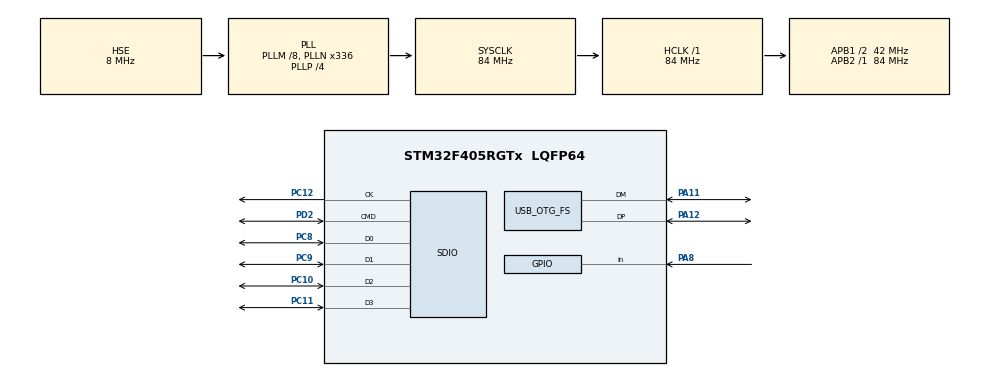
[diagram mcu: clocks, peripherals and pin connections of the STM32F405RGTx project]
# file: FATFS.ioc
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Dma.Request0=SDIO_RX
Dma.Request1=SDIO_TX
Dma.SDIO_RX.0.Direction=DMA_PERIPH_TO_MEMORY
Dma.SDIO_RX.0.FIFOMode=DMA_FIFOMODE_ENABLE
Dma.SDIO_RX.0.FIFOThreshold=DMA_FIFO_THRESHOLD_FULL
Dma.SDIO_RX.0.Instance=DMA2_Stream3
Dma.SDIO_RX.0.MemBurst=DMA_MBURST_INC4
Dma.SDIO_RX.0.MemDataAlignment=DMA_MDATAALIGN_WORD
Dma.SDIO_RX.0.MemInc=DMA_MINC_ENABLE
Dma.SDIO_RX.0.Mode=DMA_PFCTRL
Dma.SDIO_RX.0.PeriphBurst=DMA_PBURST_INC4
Dma.SDIO_RX.0.PeriphDataAlignment=DMA_PDATAALIGN_WORD
Dma.SDIO_RX.0.PeriphInc=DMA_PINC_DISABLE
Dma.SDIO_RX.0.Priority=DMA_PRIORITY_LOW
Dma.SDIO_TX.1.Direction=DMA_MEMORY_TO_PERIPH
Dma.SDIO_TX.1.FIFOMode=DMA_FIFOMODE_ENABLE
Dma.SDIO_TX.1.FIFOThreshold=DMA_FIFO_THRESHOLD_FULL
Dma.SDIO_TX.1.Instance=DMA2_Stream6
Dma.SDIO_TX.1.MemBurst=DMA_MBURST_INC4
Dma.SDIO_TX.1.MemDataAlignment=DMA_MDATAALIGN_WORD
Dma.SDIO_TX.1.MemInc=DMA_MINC_ENABLE
Dma.SDIO_TX.1.Mode=DMA_PFCTRL
Dma.SDIO_TX.1.PeriphBurst=DMA_PBURST_INC4
Dma.SDIO_TX.1.PeriphDataAlignment=DMA_PDATAALIGN_WORD
Dma.SDIO_TX.1.PeriphInc=DMA_PINC_DISABLE
Dma.SDIO_TX.1.Priority=DMA_PRIORITY_LOW
FATFS.BSP.number=1
FATFS.USE_DMA_CODE_SD=1
FATFS._MAX_SS=4096
FATFS0.BSP.STBoard=false
FATFS0.BSP.api=Unknown
FATFS0.BSP.instance=PA8
FATFS0.BSP.ip=GPIO
FATFS0.BSP.mode=Input
FATFS0.BSP.name=Detect_SDIO
FATFS0.BSP.solution=PA8
Mcu.Family=STM32F4
Mcu.Name=STM32F405RGTx
Mcu.Package=LQFP64
NVIC.DMA2_Stream3_IRQn=true\:0\:0\:false\:false\:true\:false\:true\:true
NVIC.DMA2_Stream6_IRQn=true\:0\:0\:false\:false\:true\:false\:true\:true
NVIC.OTG_FS_IRQn=true\:0\:0\:false\:false\:true\:false\:true\:true
NVIC.PriorityGroup=NVIC_PRIORITYGROUP_4
NVIC.SDIO_IRQn=true\:0\:0\:false\:false\:true\:true\:true\:true
PA11.Mode=Device_Only
PA11.Signal=USB_OTG_FS_DM
PA12.Mode=Device_Only
PA12.Signal=USB_OTG_FS_DP
PA8.GPIO_PuPd=GPIO_PULLDOWN
PA8.Signal=GPIO_Input
PC10.GPIO_PuPd=GPIO_PULLUP
PC10.Mode=SD_4_bits_Wide_bus
PC10.Signal=SDIO_D2
PC11.GPIO_PuPd=GPIO_PULLUP
PC11.Mode=SD_4_bits_Wide_bus
PC11.Signal=SDIO_D3
PC12.GPIO_PuPd=GPIO_NOPULL
PC12.Mode=SD_4_bits_Wide_bus
PC12.Signal=SDIO_CK
PC8.GPIO_PuPd=GPIO_PULLUP
PC8.Mode=SD_4_bits_Wide_bus
PC8.Signal=SDIO_D0
PC9.GPIO_PuPd=GPIO_PULLUP
PC9.Mode=SD_4_bits_Wide_bus
PC9.Signal=SDIO_D1
PD2.GPIO_PuPd=GPIO_PULLUP
PD2.Mode=SD_4_bits_Wide_bus
PD2.Signal=SDIO_CMD
PH0-OSC_IN.Mode=HSE-External-Oscillator
PH0-OSC_IN.Signal=RCC_OSC_IN
PH1-OSC_OUT.Mode=HSE-External-Oscillator
PH1-OSC_OUT.Signal=RCC_OSC_OUT
ProjectManager.HeapSize=0x2000
ProjectManager.StackSize=0x2000
ProjectManager.TargetToolchain=STM32CubeIDE
RCC.48MHZClocksFreq_Value=48000000
RCC.AHBFreq_Value=84000000
RCC.APB1CLKDivider=RCC_HCLK_DIV2
RCC.APB1Freq_Value=42000000
RCC.APB1TimFreq_Value=84000000
RCC.APB2Freq_Value=84000000
RCC.APB2TimFreq_Value=84000000
RCC.CortexFreq_Value=84000000
RCC.HCLKFreq_Value=84000000
RCC.HSE_VALUE=8000000
RCC.HSI_VALUE=16000000
RCC.LSE_VALUE=32768
RCC.PLLM=8
RCC.PLLN=336
RCC.PLLP=RCC_PLLP_DIV4
RCC.PLLQ=7
RCC.SYSCLKFreq_VALUE=84000000
RCC.SYSCLKSource=RCC_SYSCLKSOURCE_PLLCLK
RCC.VCOOutputFreq_Value=336000000
SDIO.ClockDiv=4
SDIO.HardwareFlowControl=SDIO_HARDWARE_FLOW_CONTROL_DISABLE
USB_DEVICE.CLASS_NAME_FS=MSC
USB_DEVICE.VirtualMode-MSC_FS=Msc
USB_DEVICE.VirtualModeFS=Msc_FS
USB_OTG_FS.VirtualMode=Device_Only
VP_FATFS_VS_SDIO.Mode=SDIO
VP_USB_DEVICE_VS_USB_DEVICE_MSC_FS.Mode=MSC_FS
board=custom

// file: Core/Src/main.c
/* USER CODE BEGIN Header */
/**
  ******************************************************************************
  * @file           : main.c
  * @brief          : Main program body
  ******************************************************************************
  * @attention
  *
  * Copyright (c) 2024 STMicroelectronics.
  * All rights reserved.
  *
  * This software is licensed under terms that can be found in the LICENSE file
  * in the root directory of this software component.
  * If no LICENSE file comes with this software, it is provided AS-IS.
  *
  ******************************************************************************
  */
/* USER CODE END Header */
#include "main.h"
#include "fatfs.h"
#include "usb_device.h"

SD_HandleTypeDef hsd;
DMA_HandleTypeDef hdma_sdio_rx;
DMA_HandleTypeDef hdma_sdio_tx;

void SystemClock_Config(void);
static void MX_GPIO_Init(void);
static void MX_DMA_Init(void);
static void MX_SDIO_SD_Init(void);

/* USER CODE BEGIN 0 */
extern char SDPath[4];
/* USER CODE END 0 */

int main(void)
{

  /* USER CODE BEGIN 1 */
	FRESULT res; /* FatFs function common result code */
	uint32_t byteswritten, bytesread; /* File write/read counts */
	uint8_t wtext[] = "This is STM32 working with FatFs"; /* File write buffer */
	uint8_t rtext[100]; /* File read buffer */
  /* USER CODE END 1 */

  /* MCU Configuration--------------------------------------------------------*/

  /* Reset of all peripherals, Initializes the Flash interface and the Systick. */
  HAL_Init();

  /* Configure the system clock */
  SystemClock_Config();

  /* Initialize all configured peripherals */
  MX_GPIO_Init();
  MX_DMA_Init();
  MX_SDIO_SD_Init();
  MX_FATFS_Init();
//  MX_USB_DEVICE_Init();//DON'T WORKING
  /* USER CODE BEGIN 2 */
  HAL_Delay(1000);
  /*##-2- Register the file system object to the FatFs module ##############*/
  if(f_mount(&SDFatFS, (TCHAR const*)SDPath, 0) != FR_OK){
  /* FatFs Initialization Error */
	  Error_Handler();
  }
  else{
  /*##-4- Create and Open a new text file object with write access #####*/
	  if(f_open(&SDFile, "STM32.TXT", FA_CREATE_ALWAYS | FA_WRITE) != FR_OK){
  /* 'STM32.TXT' file Open for write Error */
		  Error_Handler();
	  }
	  else{
  /*##-5- Write data to the text file ################################*/
		  res = f_write(&SDFile, wtext, sizeof(wtext), (void *)&byteswritten);
		  if((byteswritten == 0) || (res != FR_OK)){
  /* 'STM32.TXT' file Write or EOF Error */
			  Error_Handler();
		  }
		  else
		  {
  /*##-6- Close the open text file #################################*/
			  f_close(&SDFile);
  /*##-7- Open the text file object with read access ###############*/
			  if(f_open(&SDFile, "STM32.TXT", FA_READ) != FR_OK){
  /* 'STM32.TXT' file Open for read Error */
				  Error_Handler();
			  }
			  else {
  /*##-8- Read data from the text file ###########################*/
				  res = f_read(&SDFile, rtext, sizeof(rtext), (UINT*)&bytesread);
				  if((bytesread == 0) || (res != FR_OK)){
  /* 'STM32.TXT' file Read or EOF Error */
					  Error_Handler();
				  }
				  else{
  /*##-9- Close the open text file #############################*/
					  f_close(&SDFile);
  /*##-10- Compare read data with the expected data ############*/
					  if((bytesread != byteswritten)) {
  /* Read data is different from the expected data */
						  Error_Handler();
					  }
					  else { }
				  }
			  }
		  }
	  }
  }
  MX_USB_DEVICE_Init();//IT WORKS
  /* USER CODE END 2 */

  /* Infinite loop */
  while (1)
  {

  }
}

void SystemClock_Config(void)
{
  RCC_OscInitTypeDef RCC_OscInitStruct = {0};
  RCC_ClkInitTypeDef RCC_ClkInitStruct = {0};

  /** Configure the main internal regulator output voltage
  */
  __HAL_RCC_PWR_CLK_ENABLE();
  __HAL_PWR_VOLTAGESCALING_CONFIG(PWR_REGULATOR_VOLTAGE_SCALE1);

  /** Initializes the RCC Oscillators according to the specified parameters
  * in the RCC_OscInitTypeDef structure.
  */
  RCC_OscInitStruct.OscillatorType = RCC_OSCILLATORTYPE_HSE;
  RCC_OscInitStruct.HSEState = RCC_HSE_ON;
  RCC_OscInitStruct.PLL.PLLState = RCC_PLL_ON;
  RCC_OscInitStruct.PLL.PLLSource = RCC_PLLSOURCE_HSE;
  RCC_OscInitStruct.PLL.PLLM = 8;
  RCC_OscInitStruct.PLL.PLLN = 336;
  RCC_OscInitStruct.PLL.PLLP = RCC_PLLP_DIV4;
  RCC_OscInitStruct.PLL.PLLQ = 7;
  if (HAL_RCC_OscConfig(&RCC_OscInitStruct) != HAL_OK)
  {
    Error_Handler();
  }

  /** Initializes the CPU, AHB and APB buses clocks
  */
  RCC_ClkInitStruct.ClockType = RCC_CLOCKTYPE_HCLK|RCC_CLOCKTYPE_SYSCLK
                              |RCC_CLOCKTYPE_PCLK1|RCC_CLOCKTYPE_PCLK2;
  RCC_ClkInitStruct.SYSCLKSource = RCC_SYSCLKSOURCE_PLLCLK;
  RCC_ClkInitStruct.AHBCLKDivider = RCC_SYSCLK_DIV1;
  RCC_ClkInitStruct.APB1CLKDivider = RCC_HCLK_DIV2;
  RCC_ClkInitStruct.APB2CLKDivider = RCC_HCLK_DIV1;

  if (HAL_RCC_ClockConfig(&RCC_ClkInitStruct, FLASH_LATENCY_2) != HAL_OK)
  {
    Error_Handler();
  }
}

static void MX_SDIO_SD_Init(void)
{

  hsd.Instance = SDIO;
  hsd.Init.ClockEdge = SDIO_CLOCK_EDGE_RISING;
  hsd.Init.ClockBypass = SDIO_CLOCK_BYPASS_DISABLE;
  hsd.Init.ClockPowerSave = SDIO_CLOCK_POWER_SAVE_DISABLE;
  hsd.Init.BusWide = SDIO_BUS_WIDE_4B;
  hsd.Init.HardwareFlowControl = SDIO_HARDWARE_FLOW_CONTROL_DISABLE;
  hsd.Init.ClockDiv = 4;
  /* USER CODE BEGIN SDIO_Init 2 */
  hsd.Init.BusWide = SDIO_BUS_WIDE_1B;
  BSP_SD_Init();
  /* USER CODE END SDIO_Init 2 */

}

static void MX_DMA_Init(void)
{

  /* DMA controller clock enable */
  __HAL_RCC_DMA2_CLK_ENABLE();

  /* DMA interrupt init */
  /* DMA2_Stream3_IRQn interrupt configuration */
  HAL_NVIC_SetPriority(DMA2_Stream3_IRQn, 0, 0);
  HAL_NVIC_EnableIRQ(DMA2_Stream3_IRQn);
  /* DMA2_Stream6_IRQn interrupt configuration */
  HAL_NVIC_SetPriority(DMA2_Stream6_IRQn, 0, 0);
  HAL_NVIC_EnableIRQ(DMA2_Stream6_IRQn);

}

static void MX_GPIO_Init(void)
{
  GPIO_InitTypeDef GPIO_InitStruct = {0};

  /* GPIO Ports Clock Enable */
  __HAL_RCC_GPIOH_CLK_ENABLE();
  __HAL_RCC_GPIOC_CLK_ENABLE();
  __HAL_RCC_GPIOA_CLK_ENABLE();
  __HAL_RCC_GPIOD_CLK_ENABLE();

  /*Configure GPIO pin : PA8 */
  GPIO_InitStruct.Pin = GPIO_PIN_8;
  GPIO_InitStruct.Mode = GPIO_MODE_INPUT;
  GPIO_InitStruct.Pull = GPIO_PULLDOWN;
  HAL_GPIO_Init(GPIOA, &GPIO_InitStruct);

}

void Error_Handler(void)
{
  __disable_irq();
  while (1)
  {
  }
}
